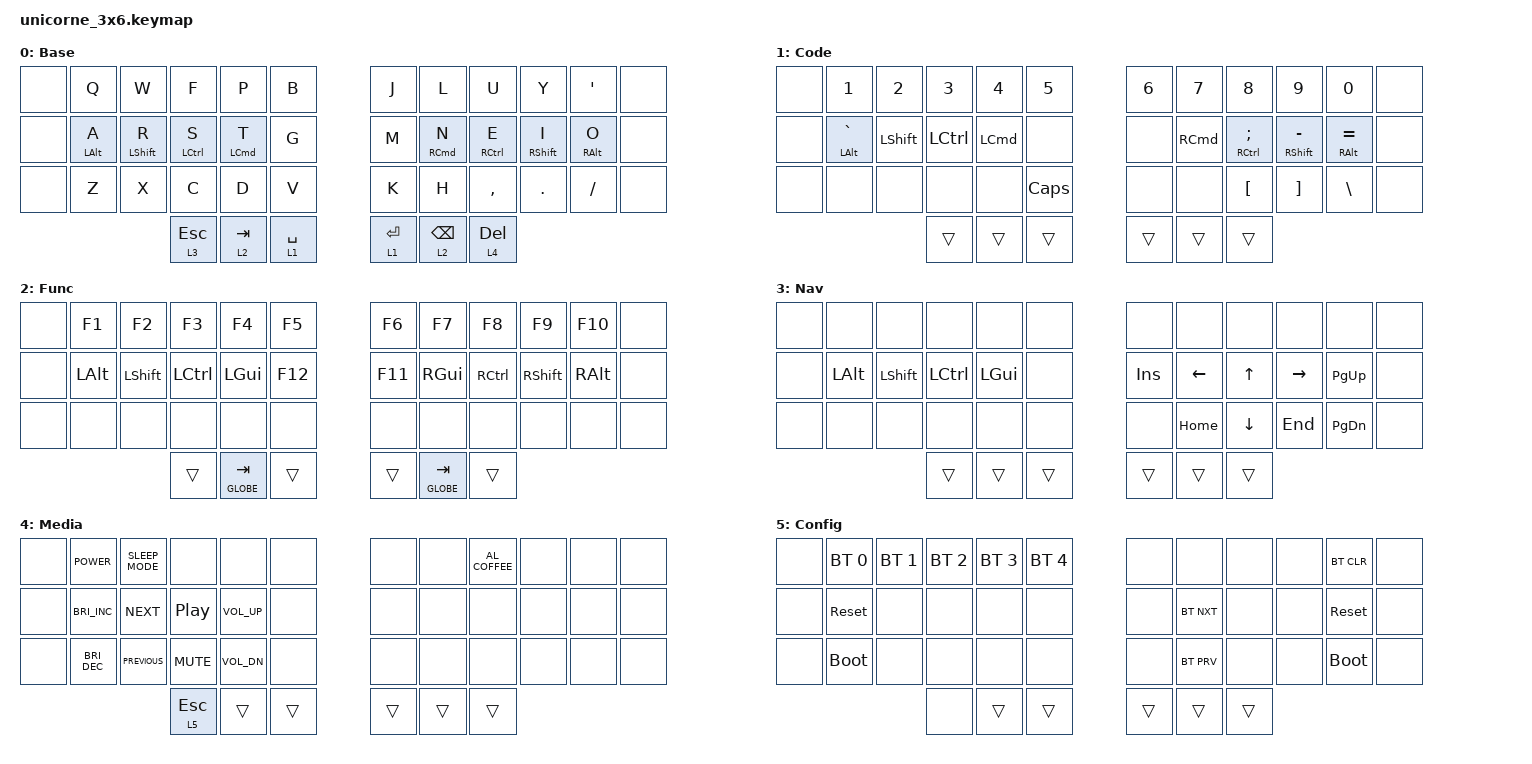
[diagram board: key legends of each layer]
#include <behaviors.dtsi>
#include <dt-bindings/zmk/keys.h>
#include <dt-bindings/zmk/bt.h>

// dt-formatter: indent = "  "
// dt-formatter: multilineIntegerCellsIndent = "reindent"
// dt-formatter: multilineListCommaStyle = "leading"

&sk {
  /delete-property/ ignore-modifiers;
};

nice_view_spi: &spi0 {
    cs-gpios = <&pro_micro 9 GPIO_ACTIVE_HIGH>;
};


/ {
  behaviors {
    hm: homewrow_mods_left {
      compatible = "zmk,behavior-hold-tap";
      #binding-cells = <2>;
      flavor = "tap-preferred";
      tapping-term-ms = <200>;
      quick-tap-ms = <0>;
      bindings = <&kp>, <&kp>;
    };
  };

  keymap {
    compatible = "zmk,keymap";

    base {
      display-name = "Base";
      bindings = <
        // col 0  // col 1     // col 2      // col 3     // col 4      // col 5       // col 6   // col 7         // col 8      // col 9      // col 10    // col 11
        &none     &kp Q        &kp W         &kp F         &kp P        &kp B          &kp J      &kp L            &kp U         &kp Y         &kp SQT      &none
        &none     &hm LALT A   &hm LSHFT R   &hm LCTRL S   &hm LCMD T   &kp G          &kp M      &hm RCMD N       &hm RCTRL E   &hm RSHFT I   &hm RALT O   &none
        &none     &kp Z        &kp X         &kp C         &kp D        &kp V          &kp K      &kp H            &kp COMMA     &kp DOT       &kp FSLH     &none
                                             &lt 3 ESC     &lt 2 TAB    &lt 1 SPACE    &lt 1 RET  &lt 2 BACKSPACE  &lt 4 DEL
      >;
    };

    code_layer {
      display-name = "Code";
      bindings = <
        &none     &kp N1           &kp N2     &kp N3     &kp N4    &kp N5       &kp N6  &kp N7    &kp N8            &kp N9             &kp N0           &none
        &none     &hm LALT GRAVE   &kp LSHFT  &kp LCTRL  &kp LCMD  &none        &none   &kp RCMD  &hm RCTRL SEMI    &hm RSHFT MINUS    &hm RALT EQUAL   &none
        &none     &none            &none      &none      &none     &kp CAPS     &none   &none     &kp LEFT_BRACKET  &kp RIGHT_BRACKET  &kp BACKSLASH    &none
                                              &trans     &trans    &trans       &trans  &trans    &trans
      >;
    };

    func_layer {
      display-name = "Func";
      bindings = <
        &none     &kp F1    &kp F2     &kp F3     &kp F4         &kp F5           &kp F6   &kp F7          &kp F8     &kp F9     &kp F10   &none
        &none     &kp LALT  &kp LSHFT  &kp LCTRL  &kp LGUI       &kp F12          &kp F11  &kp RGUI        &kp RCTRL  &kp RSHFT  &kp RALT  &none
        &none     &none     &none      &none      &none          &none            &none    &none           &none      &none      &none     &none
                                       &trans     &hm GLOBE TAB  &trans           &trans   &hm GLOBE TAB   &trans
      >;
    };

    nav_layer {
      display-name = "Nav";
      bindings = <
        // col 0  // col 1   // col 2   // col 3  // col 4  // col 5    // col 6  // col 7  // col 8  // col 9   // col 10      // col 11
        &none     &none     &none      &none      &none     &none       &none     &none     &none     &none      &none          &none
        &none     &kp LALT  &kp LSHFT  &kp LCTRL  &kp LGUI  &none       &kp INS   &kp LEFT  &kp UP    &kp RIGHT  &kp PAGE_UP    &none
        &none     &none     &none      &none      &none     &none       &none     &kp HOME  &kp DOWN  &kp END    &kp PAGE_DOWN  &none
                                       &trans     &trans    &trans      &trans    &trans    &trans
      >;
    };

    media_layer {
      display-name = "Media";
      bindings = <
        // col 0  // col 1       // col 2          // col 3    // col 4      // col 5    // col 6  // col 7  // col 8         // col 9    // col 10    // col 11
        &none     &kp C_POWER    &kp C_SLEEP_MODE  &none       &none         &none       &none     &none     &kp C_AL_COFFEE  &none       &none        &none
        &none     &kp C_BRI_INC  &kp C_NEXT        &kp C_PP    &kp C_VOL_UP  &none       &none     &none     &none            &none       &none        &none
        &none     &kp C_BRI_DEC  &kp C_PREVIOUS    &kp C_MUTE  &kp C_VOL_DN  &none       &none     &none     &none            &none       &none        &none
                                                   &lt 5 ESC   &trans        &trans      &trans    &trans    &trans
      >;
    };

    config_layer {
      display-name = "Config";
      bindings = <
        &none     &bt BT_SEL 0 &bt BT_SEL 1 &bt BT_SEL 2 &bt BT_SEL 3 &bt BT_SEL 4    &none   &none       &none   &none  &bt BT_CLR   &none
        &none     &sys_reset   &none        &none        &none        &none           &none   &bt BT_NXT  &none   &none  &sys_reset   &none
        &none     &bootloader  &none        &none        &none        &none           &none   &bt BT_PRV  &none   &none  &bootloader  &none
                                            &none        &trans       &trans          &trans  &trans      &trans
      >;
    };
  };
};
